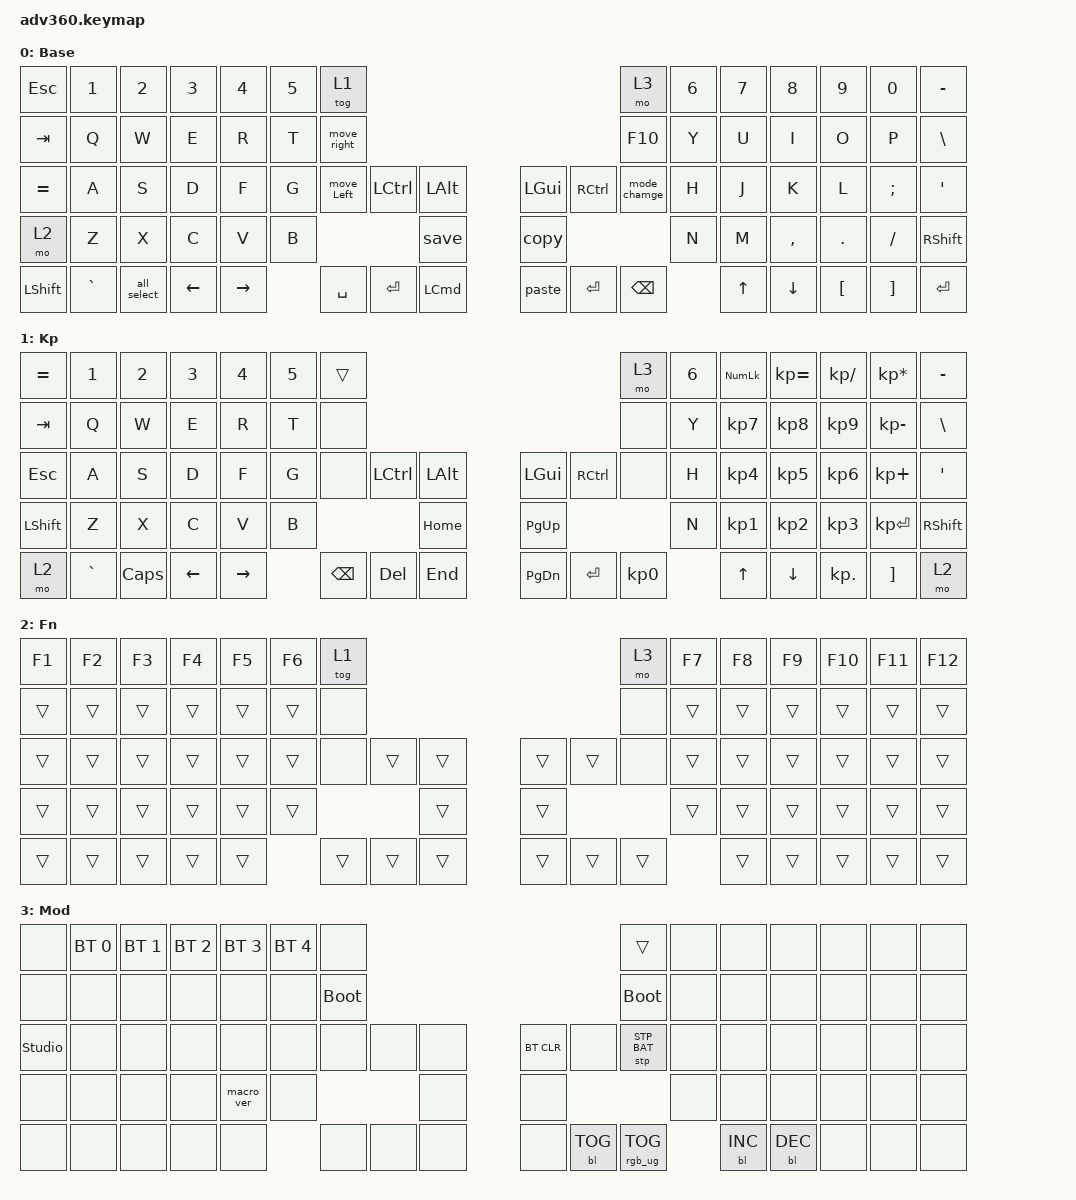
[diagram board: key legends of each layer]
#include <dt-bindings/zmk/stp.h>
#include <behaviors.dtsi>
#include <dt-bindings/zmk/backlight.h>
#include <dt-bindings/zmk/bt.h>
#include <dt-bindings/zmk/keys.h>
#include <dt-bindings/zmk/rgb.h>

/ {
    behaviors {
        #include "macros.dtsi"
      #include "version.dtsi"

        hm: homerow_mods {
            compatible = "zmk,behavior-hold-tap";
            label = "HOMEROW_MODS";
            #binding-cells = <2>;
            tapping-term-ms = <200>;
            quick_tap_ms = <175>;
            flavor = "tap-preferred";
            bindings = <&kp>, <&kp>;
        };
    };

    macros {
        copy: new_macro {
            compatible = "zmk,behavior-macro";
            #binding-cells = <0>;
            bindings =
                <&macro_press>,
                <&kp LEFT_COMMAND>,
                <&macro_tap>,
                <&kp C>,
                <&macro_release>,
                <&kp LEFT_COMMAND>;

            label = "NEW_MACRO";
        };

        move_Left: move_Left {
            compatible = "zmk,behavior-macro";
            #binding-cells = <0>;
            bindings =
                <&macro_press>,
                <&kp LEFT_CONTROL>,
                <&macro_tap>,
                <&kp LEFT_ARROW>,
                <&macro_release>,
                <&kp LEFT_CONTROL>;

            label = "MOVE_LEFT";
        };

        paste: paste {
            compatible = "zmk,behavior-macro";
            #binding-cells = <0>;
            bindings =
                <&macro_press>,
                <&kp LEFT_COMMAND>,
                <&macro_tap>,
                <&kp V>,
                <&macro_release>,
                <&kp LEFT_COMMAND>;

            label = "PASTE";
        };

        move_right: move_right {
            compatible = "zmk,behavior-macro";
            #binding-cells = <0>;
            bindings =
                <&macro_press>,
                <&kp LEFT_CONTROL>,
                <&macro_tap>,
                <&kp RIGHT_ARROW>,
                <&macro_release>,
                <&kp LEFT_CONTROL>;

            label = "MOVE_RIGHT";
        };

        save: save {
            compatible = "zmk,behavior-macro";
            #binding-cells = <0>;
            bindings =
                <&macro_press>,
                <&kp LEFT_COMMAND>,
                <&macro_tap>,
                <&kp S>,
                <&macro_release>,
                <&kp LEFT_COMMAND>;

            label = "SAVE";
        };

        mode_chamge: mode_chamge {
            compatible = "zmk,behavior-macro";
            #binding-cells = <0>;
            bindings =
                <&macro_press>,
                <&kp LEFT_CONTROL>,
                <&macro_tap>,
                <&kp SPACE>,
                <&macro_release>,
                <&kp LEFT_CONTROL>;

            label = "MODE_CHAMGE";
        };

        all_select: all_select {
            compatible = "zmk,behavior-macro";
            #binding-cells = <0>;
            bindings =
                <&macro_press>,
                <&kp LEFT_COMMAND>,
                <&macro_tap>,
                <&kp A>,
                <&macro_release>,
                <&kp LEFT_COMMAND>;

            label = "ALL_SELECT";
        };
    };

    keymap {
        compatible = "zmk,keymap";

        default_layer {
            display-name = "Base";
            bindings = <
&kp ESC         &kp N1     &kp N2       &kp N3    &kp N4     &kp N5  &tog 1                                                             &mo 3          &kp N6  &kp N7  &kp N8     &kp N9    &kp N0    &kp MINUS
&kp TAB         &kp Q      &kp W        &kp E     &kp R      &kp T   &move_right                                                        &kp F10        &kp Y   &kp U   &kp I      &kp O     &kp P     &kp BSLH
&kp EQUAL       &kp A      &kp S        &kp D     &kp F      &kp G   &move_Left   &kp LCTRL  &kp LALT              &kp LGUI  &kp RCTRL  &mode_chamge   &kp H   &kp J   &kp K      &kp L     &kp SEMI  &kp SQT
&mo 2           &kp Z      &kp X        &kp C     &kp V      &kp B                           &save                 &copy                               &kp N   &kp M   &kp COMMA  &kp DOT   &kp FSLH  &kp RSHFT
&kp LEFT_SHIFT  &kp GRAVE  &all_select  &kp LEFT  &kp RIGHT          &kp SPACE    &kp ENTER  &kp LEFT_COMMAND      &paste    &kp ENTER  &kp BACKSPACE          &kp UP  &kp DOWN   &kp LBKT  &kp RBKT  &kp ENTER
            >;
        };

        keypad {
            display-name = "Kp";
            bindings = <
&kp EQUAL  &kp N1     &kp N2    &kp N3    &kp N4     &kp N5  &trans                                                   &mo 3      &kp N6  &kp KP_NUM  &kp KP_EQUAL  &kp KP_DIVIDE  &kp KP_MULTIPLY  &kp MINUS
&kp TAB    &kp Q      &kp W     &kp E     &kp R      &kp T   &none                                                    &none      &kp Y   &kp KP_N7   &kp KP_N8     &kp KP_N9      &kp KP_MINUS     &kp BSLH
&kp ESC    &kp A      &kp S     &kp D     &kp F      &kp G   &none     &kp LCTRL  &kp LALT      &kp LGUI   &kp RCTRL  &none      &kp H   &kp KP_N4   &kp KP_N5     &kp KP_N6      &kp KP_PLUS      &kp SQT
&kp LSHFT  &kp Z      &kp X     &kp C     &kp V      &kp B                        &kp HOME      &kp PG_UP                        &kp N   &kp KP_N1   &kp KP_N2     &kp KP_N3      &kp KP_ENTER     &kp RSHFT
&mo 2      &kp GRAVE  &kp CAPS  &kp LEFT  &kp RIGHT          &kp BSPC  &kp DEL    &kp END       &kp PG_DN  &kp ENTER  &kp KP_N0          &kp UP      &kp DOWN      &kp KP_DOT     &kp RBKT         &mo 2
            >;
        };

        fn {
            display-name = "Fn";
            bindings = <
&kp F1  &kp F2  &kp F3  &kp F4  &kp F5  &kp F6  &tog 1                                      &mo 3   &kp F7  &kp F8  &kp F9  &kp F10  &kp F11  &kp F12
&trans  &trans  &trans  &trans  &trans  &trans  &none                                       &none   &trans  &trans  &trans  &trans   &trans   &trans
&trans  &trans  &trans  &trans  &trans  &trans  &none   &trans  &trans      &trans  &trans  &none   &trans  &trans  &trans  &trans   &trans   &trans
&trans  &trans  &trans  &trans  &trans  &trans                  &trans      &trans                  &trans  &trans  &trans  &trans   &trans   &trans
&trans  &trans  &trans  &trans  &trans          &trans  &trans  &trans      &trans  &trans  &trans          &trans  &trans  &trans   &trans   &trans
            >;
        };

        mod {
            display-name = "Mod";
            bindings = <
&none           &bt BT_SEL 0  &bt BT_SEL 1  &bt BT_SEL 2  &bt BT_SEL 3  &bt BT_SEL 4  &none                                                  &trans           &none  &none       &none       &none  &none  &none
&none           &none         &none         &none         &none         &none         &bootloader                                            &bootloader      &none  &none       &none       &none  &none  &none
&studio_unlock  &none         &none         &none         &none         &none         &none        &none  &none      &bt BT_CLR  &none       &stp STP_BAT     &none  &none       &none       &none  &none  &none
&none           &none         &none         &none         &macro_ver    &none                             &none      &none                                    &none  &none       &none       &none  &none  &none
&none           &none         &none         &none         &none                       &none        &none  &none      &none       &bl BL_TOG  &rgb_ug RGB_TOG         &bl BL_INC  &bl BL_DEC  &none  &none  &none
            >;
        };

        extra1 {
            display-name = "Red";
            status = "reserved";
        };

        extra2 {
            display-name = "Purple";
            status = "reserved";
        };

        extra3 {
            display-name = "Cyan";
            status = "reserved";
        };

        extra4 {
            display-name = "Yellow";
            status = "reserved";
        };
    };
};
